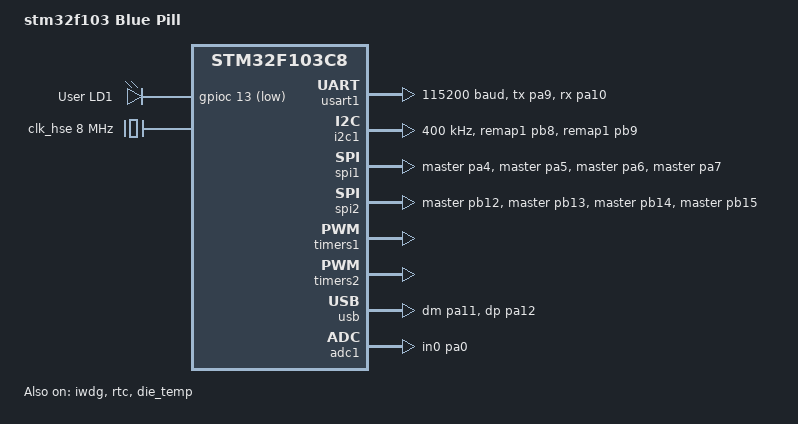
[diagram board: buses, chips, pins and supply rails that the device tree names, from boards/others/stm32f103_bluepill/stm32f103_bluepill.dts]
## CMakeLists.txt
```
# CMakeLists.txt

cmake_minimum_required(VERSION 3.20.0)

find_package(Zephyr REQUIRED HINTS $ENV{ZEPHYR_BASE})
project(pwm_stm32f103)

zephyr_include_directories(include)
target_sources(app PRIVATE src/main.c src/heartbeat.c)

## Create and install git pre-commit script that gets the current hash of the zephyr repo at the time
## when this project was last built so that future-me can reference when this code fails to build in
## in the future, given the current somewhat rapid change to Zephyr API's.

function(install_git_hook HOOK_NAME HOOK_CONTENT)
    set(HOOK_DIR "${CMAKE_CURRENT_SOURCE_DIR}/.git/hooks")
    set(HOOK_PATH "${HOOK_DIR}/${HOOK_NAME}")
    
    file(WRITE "${HOOK_PATH}" "${HOOK_CONTENT}")
    execute_process(COMMAND chmod +x "${HOOK_PATH}")
endfunction()

set(PRE_COMMIT_SCRIPT 
"#!/bin/bash
export ZEPHYR_BASE=${ZEPHYR_BASE}

if [ -z \"\$ZEPHYR_BASE\" ]; then
    echo \"Warning: ZEPHYR_BASE not set - skipping Zephyr commit hash\"
    exit 0
fi

cd \"\$ZEPHYR_BASE\"
ZEPHYR_HASH=\$(git rev-parse HEAD)

cd - > /dev/null

# Save hash to file
echo \"\$ZEPHYR_HASH\" > ZEPHYR_COMMIT_HASH.txt
git add ZEPHYR_COMMIT_HASH.txt
")

install_git_hook("pre-commit" "${PRE_COMMIT_SCRIPT}")
```

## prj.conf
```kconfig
CONFIG_NO_OPTIMIZATIONS=y
CONFIG_GPIO=y
#CONFIG_I2C=y 

#CONFIG_UART_CONSOLE=y
CONFIG_SERIAL=y

## Debugging
CONFIG_DEBUG=y

#CONFIG_SHELL=y # Requires ~50KB of flash

# Untestedd debug configs
#CONFIG_FAULT_DUMP=2
#CONFIG_EXTRA_EXCEPTION_INFO=y
#CONFIG_THREAD_STACK_INFO=y
#CONFIG_THREAD_MONITOR=y

#CONFIG_PWM_LOG_LEVEL_DBG=y
#CONFIG_STEPPER=y
#CONFIG_STEPPER_INIT_PRIORITY=90
#CONFIG_GPIO_STEPPER=y

# Below are recently recommended by llm (O1) for working with PWM motor control and stm32f103
# CONFIG_TICKLESS_KERNEL=y # Enables tickless idle in the kernel, eliminating the dependency on the periodic system tick interrupt. 
                         # This allows the kernel to use hardware timers for timekeeping, reducing interrupt overhead and improving performance

CONFIG_COUNTER=y         # Enables the Counter driver subsystem, which provides support for hardware timers (counters) on the MCU.

CONFIG_PWM=y             # Enables the PWM driver subsystem, necessary for generating PWM signals used in motor control applications.

CONFIG_PWM_STM32=y       # Enables the STM32-specific PWM driver, allowing use of the MCU's hardware PWM capabilities to generate precise PWM
                         # signals without burdening the CPU.

CONFIG_PWM_CAPTURE=y     # Enables PWM capture functionality, which allows measuring incoming PWM signals

CONFIG_LOG=y             # Enables the logging subsystem, allowing output of log messages through various backends for debugging purposes.

CONFIG_PRINTK=y          # Enables the printk function for low-level debugging output.

CONFIG_CLOCK_CONTROL=y   # Enables the clock control driver, essential for configuring and managing the clock sources and frequencies on
                         # the STM32F103 MCU, which is crucial for accurate timer and PWM operation.

CONFIG_PINCTRL=y         # Enables the pin control subsystem, allowing precise configuration of MCU pins for peripheral functions like PWM output.

CONFIG_COUNTER=n        # Disable Counter driver subsystem - not needed for PWM motor control
                        # Also removes warning: "No SOURCES given to Zephyr library: drivers__counter" - which I haven't quite figured out yet
```

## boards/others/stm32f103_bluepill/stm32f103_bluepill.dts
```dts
/*
 * Copyright (c) 2024 Kabirz
 *
 * SPDX-License-Identifier: Apache-2.0
 */

/dts-v1/;
#include <st/f1/stm32f103X8.dtsi>
#include <st/f1/stm32f103c(8-b)tx-pinctrl.dtsi>

/ {
	model = "stm32f103 Blue Pill";
	compatible = "st,stm32f103c8";

	chosen {
		zephyr,console = &usart1;
		zephyr,shell-uart = &usart1;
		zephyr,sram = &sram0;
		zephyr,flash = &flash0;
	};

	leds {
		compatible = "gpio-leds";
		green_led_1: led_1 {
			gpios = <&gpioc 13 GPIO_ACTIVE_LOW>;
			label = "User LD1";
		};
	};

	aliases {
		led0 = &green_led_1;
		watchdog0 = &iwdg;
		die-temp0 = &die_temp;
	};
};

&clk_lsi {
	status = "okay";
};

&clk_hse {
	clock-frequency = <DT_FREQ_M(8)>;
	status = "okay";
};

&pll {
	mul = <9>;
	clocks = <&clk_hse>;
	status = "okay";
};

&rcc {
	clocks = <&pll>;
	clock-frequency = <DT_FREQ_M(72)>;
	ahb-prescaler = <1>;
	apb1-prescaler = <2>;
	apb2-prescaler = <1>;
	/* usbpre not set: USB clock = 72 / 1.5: 48MHz */
};

&usart1 {
	pinctrl-0 = <&usart1_tx_pa9 &usart1_rx_pa10>;
	pinctrl-names = "default";
	current-speed = <115200>;
	status = "okay";
};

&usart2 {
	pinctrl-0 = <&usart2_tx_pa2 &usart2_rx_pa3>;
	pinctrl-names = "default";
	current-speed = <115200>;
	status = "disabled"; /* Free up pb10 & pb11 for motor control */
};

&usart3 {
	pinctrl-0 = <&usart3_tx_pb10 &usart3_rx_pb11>;
	pinctrl-names = "default";
	current-speed = <115200>;
	status = "disabled"; /* Free up pb10 & pb11 for motor control */
};

&i2c1 {
	pinctrl-0 = <&i2c1_scl_remap1_pb8 &i2c1_sda_remap1_pb9>;
	pinctrl-names = "default";
	status = "okay";
	clock-frequency = <I2C_BITRATE_FAST>;
};

&spi1 {
	pinctrl-0 = <&spi1_nss_master_pa4 &spi1_sck_master_pa5
		     &spi1_miso_master_pa6 &spi1_mosi_master_pa7>;
	pinctrl-names = "default";
	status = "okay";
};

&spi2 {
	pinctrl-0 = <&spi2_nss_master_pb12 &spi2_sck_master_pb13
		     &spi2_miso_master_pb14 &spi2_mosi_master_pb15>;
	pinctrl-names = "default";
	status = "okay";
};

&iwdg {
	status = "okay";
};

&timers1 {
	st,prescaler = <10000>;
	status = "okay";

	pwm1: pwm {
		status = "okay";
		pinctrl-0 = <&tim1_ch1_pwm_out_pa8>;
		pinctrl-names = "default";
	};
};

/** 
* The correct format for STM32F1 series in Zephyr 4.0, follows the pattern: 
* tim{timer_number}_ch{channel_number}_pwm_out_{port}{pin};
* tim2_ch1_pwm_out_pa0
*/

&timers2 {
	st,prescaler = <72>;
	status = "okay";

	pwm2: pwm {
		status = "okay";
		/**
		* The default Alternate Function for PA0 is Timer2, 
		* so pinctrl modification is not required
		*/
		pinctrl-0 = <&tim2_ch1_pwm_out_pa0>;
		pinctrl-names = "default";
	};
};

zephyr_udc0: &usb {
	pinctrl-0 = <&usb_dm_pa11 &usb_dp_pa12>;
	pinctrl-names = "default";
	status = "okay";
};

&rtc {
	clocks = <&rcc STM32_CLOCK_BUS_APB1 0x10000000>,
		 <&rcc STM32_SRC_LSI RTC_SEL(2)>;
	status = "okay";
};

&adc1 {
	pinctrl-0 = <&adc1_in0_pa0>;
	pinctrl-names = "default";
	status = "okay";
};

&die_temp {
	status = "okay";
};

&flash0 {
    reg = <0x08000000 DT_SIZE_K(128)>;
};
```

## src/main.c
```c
/**
 * @file main.c
 * @brief Main source file for the project.
 *
 * See ZEPHYR_COMMIT_HASH.txt for the Zephyr commit hash used in this project.
 * 
 * Note: The GPIO and PWM drivers must be enabled by adding CONFIG_GPIO=y and CONFIG_PWM=y in in prj.conf.
 */

#include <zephyr/kernel.h>
#include <zephyr/sys/printk.h>
#include <zephyr/device.h>
#include <zephyr/drivers/pwm.h>
#include <zephyr/drivers/gpio.h>
#include <zephyr/sys/reboot.h>
#include <zephyr/devicetree.h>
#include <zephyr/autoconf.h>
#include "heartbeat.h"

// Compiler requires that main returns int
int main(void)
{
    printk("\n");
    printk("SimpleFOC starting up...\n");

    const struct device *pwm_dev = DEVICE_DT_GET(DT_NODELABEL(pwm2));
    
    if (!device_is_ready(pwm_dev)) {
        printk("Error: PWM device not ready\n");
        return 1;
    }

    int ret = pwm_set(pwm_dev, 1, PWM_USEC(1000), PWM_USEC(500), 0);

    if (ret) {
        printk("Error %d: failed to set PWM\n", ret);
        return ret;
    }

    printk("PWM 1kHz square wave output on PA0 should be working at this point\n");

    heartbeat();
    
    return 0;
}
```

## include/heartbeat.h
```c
#ifndef HEARTBEAT_H
#define HEARTBEAT_H
#include <zephyr/autoconf.h> /* generated file - for CONFIG_SYS_CLOCK_TICKS_PER_SEC */

void heartbeat(void);

#endif // HEARTBEAT_H
```

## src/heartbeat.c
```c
#include <zephyr/kernel.h>
#include <zephyr/device.h>
#include <zephyr/drivers/gpio.h>
#include <zephyr/sys/reboot.h>
#include "heartbeat.h"
#include <zephyr/autoconf.h> /* generated, for CONFIG_SYS_CLOCK_TICKS_PER_SEC */

#define LED0_NODE DT_ALIAS(led0)

// Timing constants in milliseconds
#define HEARTBEAT_PULSE     100
#define BETWEEN_BEATS     700
#define NUM_BEATS         10

void heartbeat(void)
{
    const struct gpio_dt_spec led_dev = GPIO_DT_SPEC_GET(LED0_NODE, gpios);
    int ret;

    if (!gpio_is_ready_dt(&led_dev)) {
        printk("Failed to bind LED device\n");
        return;
    }

    ret = gpio_pin_configure_dt(&led_dev, GPIO_OUTPUT_ACTIVE);
    if (ret < 0) {
        printk("Failed to configure LED GPIO pin\n");
		return;
	}

    uint32_t count = 0;
    while (count < NUM_BEATS) {
        printk("Heartbeat: %u\n", count++);
        
        // First pulse
        gpio_pin_set_dt(&led_dev, 1);
        k_sleep(K_MSEC(HEARTBEAT_PULSE));
        gpio_pin_set_dt(&led_dev, 0);
        k_sleep(K_MSEC(HEARTBEAT_PULSE));
        
        // Second pulse
        gpio_pin_set_dt(&led_dev, 1);
        k_sleep(K_MSEC(HEARTBEAT_PULSE));
        gpio_pin_set_dt(&led_dev, 0);
        
        // Pause between beats
        k_sleep(K_MSEC(BETWEEN_BEATS));
    }

    printk("Resetting system...\n");
    k_sleep(K_MSEC(100));
    sys_reboot(SYS_REBOOT_COLD);
}
```
